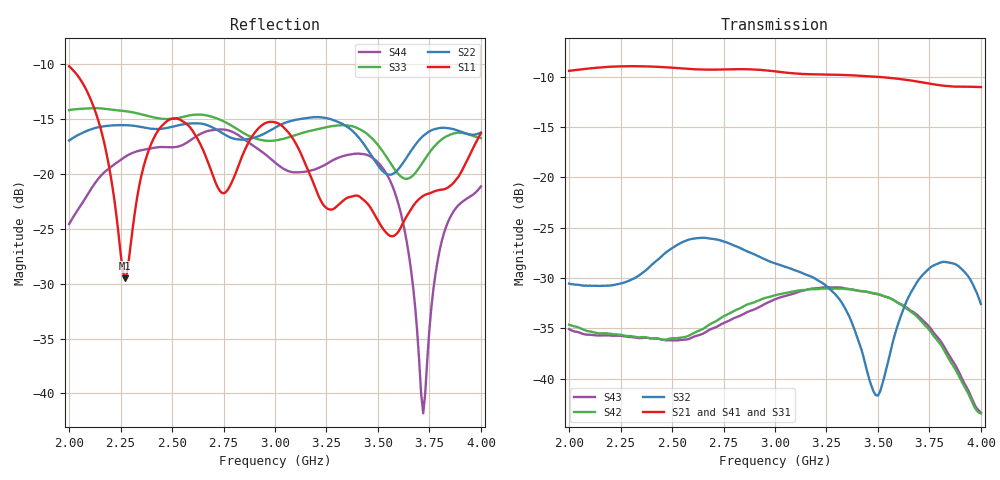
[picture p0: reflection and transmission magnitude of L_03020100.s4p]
!Agilent Technologies,N5224A,MY51441093,A.09.90.21
!Agilent N5224A: A.09.90.21
!Date: Friday, December 19, 2025 16:37:18
!Correction: S11(Full 4 Port(1,2,3,4))
!S12(Full 4 Port(1,2,3,4))
!S13(Full 4 Port(1,2,3,4))
!S14(Full 4 Port(1,2,3,4))
!S21(Full 4 Port(1,2,3,4))
!S22(Full 4 Port(1,2,3,4))
!S23(Full 4 Port(1,2,3,4))
!S24(Full 4 Port(1,2,3,4))
!S31(Full 4 Port(1,2,3,4))
!S32(Full 4 Port(1,2,3,4))
!S33(Full 4 Port(1,2,3,4))
!S34(Full 4 Port(1,2,3,4))
!S41(Full 4 Port(1,2,3,4))
!S42(Full 4 Port(1,2,3,4))
!S43(Full 4 Port(1,2,3,4))
!S44(Full 4 Port(1,2,3,4))
!S4P File: Measurements: <S11,S12,S13,S14>,
!<S21,S22,S23,S24>,
!<S31,S32,S33,S34>,
!<S41,S42,S43,S44>:
# Hz S  dB  R 50
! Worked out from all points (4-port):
!   201 points, 2 GHz to 4 GHz, reference 50 ohm
!   strongest paths, dB at 2 GHz, 2.5 GHz, 3 GHz, 3.5 GHz, 4 GHz:
!     S21: -9.4, -9.1, -9.5, -10.0, -11.0
!     S41: -9.4, -9.1, -9.5, -9.9, -10.7
!     S31: -9.8, -9.5, -9.7, -10.2, -11.0
!     S32: -30.6, -27.0, -28.6, -41.7, -32.6
!     S42: -34.6, -36.0, -31.7, -31.6, -43.4
!     S43: -35.1, -36.2, -32.1, -31.6, -43.4
!   lowest |S11| = -29.5 dB at 2.27 GHz (marker M1), VSWR 1.07, Z = 48.2 + j2.72 ohm
!   |S11| at or under -10 dB: start of sweep to end of sweep
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2e9  -10.21 -47.2  -9.41 -143.8  -9.70 -123.7  -9.55 -95.6
     -9.42 -143.8  -16.98 -38.2  -30.52 -96.1  -34.77 -50.0
     -9.76 -123.5  -30.56 -95.9  -14.21 -5.6  -35.27 -30.4
     -9.44 -95.3  -34.64 -49.8  -35.10 -30.3  -24.58 33.6
2.27e9  -29.53 122.3  -8.97 77.4  -9.30 98.1  -9.18 122.8
        -8.97 77.3  -15.58 -124.3  -30.38 79.7  -35.86 32.7
        -9.36 98.1  -30.44 79.8  -14.30 -93.3  -36.01 51.6
        -9.05 122.9  -35.73 33.0  -35.81 51.7  -18.48 -88.0
2.5e9  -14.99 -58.5  -9.10 -40.3  -9.41 -18.8  -9.19 5.6
       -9.11 -40.5  -15.73 -164.3  -26.98 -67.9  -36.11 178.2
       -9.48 -18.8  -27.04 -67.8  -15.00 -147.3  -36.38 -158.6
       -9.07 5.6  -36.00 178.4  -36.19 -158.6  -17.59 -149.5
2.84e9  -18.42 38.3  -9.23 149.9  -9.44 172.2  -9.43 -166.7
        -9.26 149.8  -16.90 148.7  -27.07 82.1  -33.03 -108.9
        -9.52 172.3  -27.12 82.3  -16.22 141.2  -33.85 -87.1
        -9.34 -166.6  -32.90 -108.6  -33.66 -87.2  -16.72 130.5
3.49e9  -23.93 -112.6  -10.00 -174.6  -10.15 -151.0  -9.98 -129.0
        -10.01 -174.5  -18.97 65.2  -41.58 162.3  -31.61 44.0
        -10.23 -150.7  -41.65 162.4  -17.16 51.1  -31.72 67.8
        -9.93 -128.8  -31.55 44.3  -31.58 67.7  -18.79 34.6
3.72e9  -22.01 -130.8  -10.56 70.3  -10.63 94.9  -10.34 116.3
        -10.58 70.4  -16.56 71.2  -29.55 95.0  -34.56 -164.3
        -10.72 95.3  -29.64 95.3  -18.90 59.6  -34.38 -139.6
        -10.30 116.7  -34.50 -164.0  -34.25 -139.6  -41.81 44.1
4e9  -16.33 30.6  -11.00 -66.4  -10.93 -41.3  -10.78 -20.9
     -11.04 -66.1  -16.25 34.2  -32.54 -75.2  -43.56 -109.5
     -11.02 -40.7  -32.59 -74.8  -16.76 25.2  -43.53 -83.1
     -10.75 -20.2  -43.45 -108.7  -43.39 -83.1  -21.16 78.4
